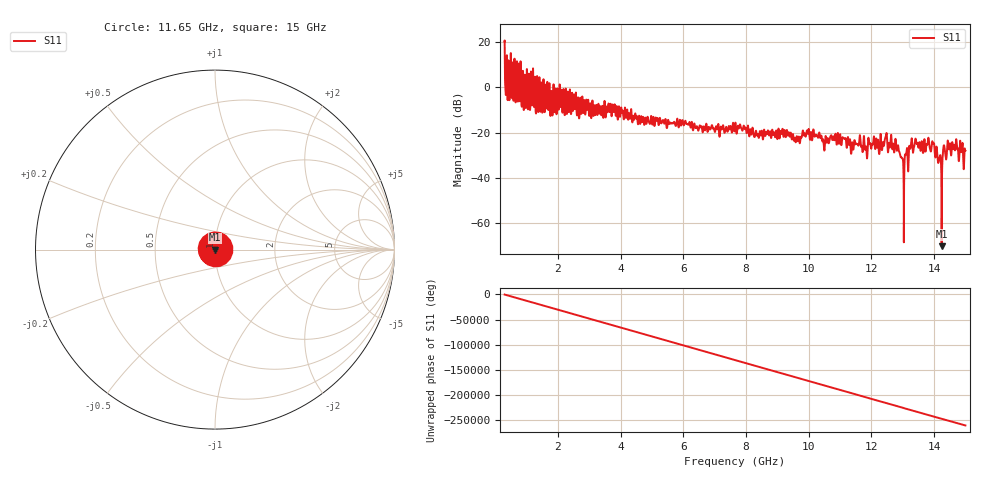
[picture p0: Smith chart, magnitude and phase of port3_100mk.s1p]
# GHZ S RI R 50.0
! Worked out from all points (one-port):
!   12801 points, 300 MHz to 15 GHz, reference 50 ohm
!   lowest |S11| = -70.0 dB at 14.24 GHz (marker M1), VSWR 1.00, Z = 50 - j0.0107 ohm
!   |S11| at or under -10 dB: 4.03 GHz to 4.131 GHz (101.2 MHz wide, 2.48 % of centre); 4.213 GHz to 4.332 GHz (119.1 MHz wide, 2.79 % of centre); 4.341 GHz to end of sweep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
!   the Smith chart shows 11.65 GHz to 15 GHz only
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0.3  -6.691 -7.579
0.3746484  3.266 -0.7606
0.3826875  -1.051 -0.1399
0.4228828  -2.684 2.09
0.4309219  1.04 -0.4588
0.7524844  0.6948 1.525
0.9109687  -0.2986 -0.0912
1.202672  -1.219 0.7434
1.31407  0.1796 -0.2676
2.1375  0.0574 0.2929
3.975  0.1686 0.1542
5.8125  0.00933 -0.1997
7.65  -0.0569 -0.1258
9.4875  -0.0369 0.0763
9.946875  -0.1093 0.00885
11.325  0.057 0.0338
12.43669  -0.00317 0.074
12.82486  -0.0416 -0.00406
12.99253  0.0215 0.016
13.1625  -0.02 0.00192
13.3451  -0.0423 0.0143
13.81252  -0.0374 -0.0634
14.01579  -0.0269 -0.0349
14.18691  0.0212 0.0223
14.24318  -0.000298 -0.000107
14.37066  0.0181 -0.0227
14.64628  -0.00219 0.0472
15  0.0395 0.00288
